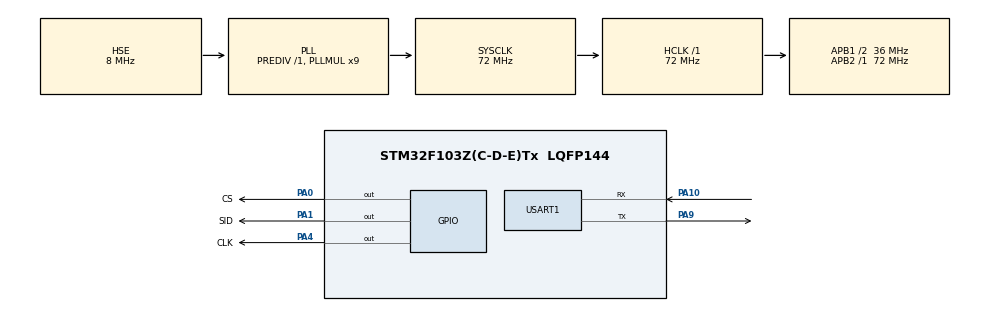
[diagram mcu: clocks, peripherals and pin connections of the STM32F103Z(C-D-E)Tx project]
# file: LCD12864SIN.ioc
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Mcu.Family=STM32F1
Mcu.Name=STM32F103Z(C-D-E)Tx
Mcu.Package=LQFP144
NVIC.PriorityGroup=NVIC_PRIORITYGROUP_4
OSC_IN.Mode=HSE-External-Oscillator
OSC_IN.Signal=RCC_OSC_IN
OSC_OUT.Mode=HSE-External-Oscillator
OSC_OUT.Signal=RCC_OSC_OUT
PA0-WKUP.GPIO_Label=CS
PA0-WKUP.Signal=GPIO_Output
PA1.GPIO_Label=SID
PA1.GPIO_PuPd=GPIO_PULLUP
PA1.Signal=GPIO_Output
PA10.Mode=Asynchronous
PA10.Signal=USART1_RX
PA13.Mode=Serial_Wire
PA13.Signal=SYS_JTMS-SWDIO
PA14.Mode=Serial_Wire
PA14.Signal=SYS_JTCK-SWCLK
PA4.GPIO_Label=CLK
PA4.GPIO_PuPd=GPIO_PULLUP
PA4.Signal=GPIO_Output
PA9.Mode=Asynchronous
PA9.Signal=USART1_TX
PC14-OSC32_IN.Mode=LSE-External-Oscillator
PC14-OSC32_IN.Signal=RCC_OSC32_IN
PC15-OSC32_OUT.Mode=LSE-External-Oscillator
PC15-OSC32_OUT.Signal=RCC_OSC32_OUT
ProjectManager.HeapSize=0x200
ProjectManager.StackSize=0x400
ProjectManager.TargetToolchain=MDK-ARM V5.32
RCC.AHBFreq_Value=72000000
RCC.APB1CLKDivider=RCC_HCLK_DIV2
RCC.APB1Freq_Value=36000000
RCC.APB1TimFreq_Value=72000000
RCC.APB2Freq_Value=72000000
RCC.APB2TimFreq_Value=72000000
RCC.HCLKFreq_Value=72000000
RCC.PLLMUL=RCC_PLL_MUL9
RCC.PLLSourceVirtual=RCC_PLLSOURCE_HSE
RCC.RTCClockSelection=RCC_RTCCLKSOURCE_LSE
RCC.SYSCLKFreq_VALUE=72000000
RCC.SYSCLKSource=RCC_SYSCLKSOURCE_PLLCLK
RCC.USBFreq_Value=72000000
USART1.VirtualMode=VM_ASYNC
VP_RTC_VS_RTC_Activate.Mode=RTC_Enabled
VP_RTC_VS_RTC_Calendar.Mode=RTC_Calendar
board=custom

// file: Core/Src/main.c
/* USER CODE BEGIN Header */
/**
  ******************************************************************************
  * @file           : main.c
  * @brief          : Main program body
  ******************************************************************************
  * @attention
  *
  * Copyright (c) 2023 STMicroelectronics.
  * All rights reserved.
  *
  * This software is licensed under terms that can be found in the LICENSE file
  * in the root directory of this software component.
  * If no LICENSE file comes with this software, it is provided AS-IS.
  *
  ******************************************************************************
  */
/* USER CODE END Header */
#include "main.h"
#include "rtc.h"
#include "usart.h"
#include "gpio.h"

/* USER CODE BEGIN Includes */
#include "lcd.h"
#include "math.h"
#include "string.h"
#include "stdio.h"
/* USER CODE END Includes */

/* USER CODE BEGIN PTD */
//重定向c库函数printf到串口DEBUG_USART，重定向后可使用printf函数
int fputc(int ch, FILE *f)
{
	/* 发送一个字节数据到串口DEBUG_USART */
	HAL_UART_Transmit(&huart1, (uint8_t *)&ch, 1, 1000);

	return (ch);
}
/* USER CODE END PTD */

void SystemClock_Config(void);

/* USER CODE BEGIN 0 */
const unsigned char XYDIAN[1024] __attribute__((section(".progmem_data"))) ={
	0x00,0x00,0x00,0x00,0x00,0x00,0x00,0x00,0x00,0x00,0x00,0x00,0x00,0x00,0x00,0x00,
	0x00,0x00,0x00,0x00,0x00,0x00,0x00,0x00,0x00,0x00,0x00,0x00,0x00,0x00,0x00,0x00,
	0x00,0x00,0x00,0x00,0x00,0x00,0x00,0x00,0x00,0x00,0x00,0x00,0x00,0x00,0x00,0x00,
	0x00,0x00,0x00,0x00,0x00,0x00,0x00,0x00,0x00,0x00,0x00,0x00,0x00,0x00,0x00,0x00,
	0x00,0x00,0x00,0x00,0x00,0x00,0x00,0x00,0x00,0x00,0x00,0x00,0x00,0x00,0x00,0x00,
	0x00,0x00,0x00,0x00,0x00,0x00,0x00,0x00,0x00,0x00,0x00,0x00,0x00,0x00,0x00,0x00,
	0x00,0x00,0x00,0x00,0x00,0x00,0x00,0x00,0x00,0x00,0x00,0x00,0x00,0x00,0x00,0x00,
	0x00,0x00,0x00,0x00,0x00,0x00,0x00,0x00,0x00,0x00,0x00,0x00,0x00,0x00,0x00,0x00,
	0x00,0x00,0x00,0x00,0x00,0x00,0x00,0x00,0x00,0x00,0x00,0x00,0x00,0x00,0x00,0x00,
	0x00,0x00,0x00,0x00,0x00,0x00,0x00,0x00,0x00,0x00,0x00,0x79,0xE0,0x00,0x00,0x00,
	0x00,0x00,0x00,0x00,0x00,0x00,0x00,0x00,0x00,0x00,0x00,0x7F,0xE0,0x00,0x00,0x00,
	0x00,0x00,0x00,0x00,0x00,0x00,0x00,0x00,0x00,0x00,0x00,0x67,0x60,0x00,0x00,0x00,
	0x00,0x00,0x00,0x00,0x00,0x00,0x00,0x00,0x00,0x00,0x00,0x70,0x60,0x00,0x00,0x00,
	0x00,0x00,0x00,0x00,0x00,0x00,0x00,0x00,0x00,0x00,0x00,0x30,0xE0,0x00,0x00,0x00,
	0x00,0x01,0xF7,0xC0,0x00,0x00,0x00,0x00,0x00,0x00,0x00,0x3D,0xC0,0x00,0x00,0x00,
	0x00,0x03,0xFF,0xE0,0x00,0x00,0x00,0x00,0x00,0x00,0x00,0x1F,0x80,0x00,0x00,0x00,
	0x00,0x03,0xBE,0xE0,0x00,0x00,0x00,0x00,0x00,0x00,0x03,0xC6,0x00,0x00,0x00,0x00,
	0x00,0x03,0x08,0x60,0x00,0x00,0x00,0x00,0x00,0x00,0x0F,0xE0,0x00,0x00,0x00,0x00,
	0x00,0x03,0x80,0xE0,0x00,0x00,0x00,0x01,0x83,0x00,0x1F,0x80,0x00,0x00,0x00,0x00,
	0x00,0x03,0x81,0xE0,0x00,0x00,0x00,0x01,0x83,0x00,0x1C,0x60,0x00,0x00,0x00,0x00,
	0x00,0x01,0xC3,0x80,0x00,0x1F,0xFE,0x01,0x87,0xF0,0x18,0xE0,0x00,0x00,0x00,0x00,
	0x00,0x00,0xE7,0x01,0x00,0x1F,0xFE,0x01,0x8F,0xF8,0x18,0x70,0x00,0x00,0x00,0x00,
	0x00,0x00,0xFF,0x0F,0x80,0x0C,0x06,0x01,0xC3,0x18,0x1F,0xFF,0x00,0x00,0x00,0x00,
	0x00,0x00,0x3E,0x1D,0x98,0x0C,0x06,0x07,0xE3,0x1F,0x1F,0xFF,0x00,0x00,0x00,0x00,
	0x00,0x00,0x1C,0x3F,0xFC,0x0C,0x06,0x0F,0x8F,0xFF,0x09,0x3A,0x00,0x00,0x00,0x00,
	0x00,0x00,0x00,0x3F,0xFC,0x0C,0x06,0x0D,0x9F,0xF8,0x03,0xBF,0x80,0x00,0x00,0x00,
	0x00,0x00,0x00,0x7F,0x80,0x0F,0xF6,0x0D,0x83,0x38,0x03,0xBB,0x80,0x00,0x00,0x00,
	0x00,0x00,0x00,0xE1,0x80,0x0F,0xF6,0x01,0x83,0x3C,0x03,0xB9,0xC0,0x00,0x00,0x00,
	0x00,0x00,0x01,0xE1,0xF8,0x0C,0x06,0x01,0x87,0x1E,0x03,0x79,0x80,0x00,0x00,0x00,
	0x00,0x00,0x01,0xDF,0xFC,0x0C,0x06,0x01,0x87,0x0E,0x00,0x70,0x00,0x00,0x00,0x00,
	0x00,0x00,0x00,0x1F,0xF8,0x0C,0x06,0x01,0x8E,0x06,0x00,0x70,0x00,0x00,0x00,0x00,
	0x00,0x00,0x00,0x03,0x80,0x0C,0x06,0x01,0x9C,0x00,0x00,0x00,0x00,0x00,0x00,0x00,
	0x00,0x00,0x00,0x03,0x80,0x0F,0xFE,0x00,0x00,0x00,0x3B,0xC0,0x00,0x00,0x00,0x00,
	0x00,0x00,0x00,0x03,0x80,0x0F,0xFE,0x00,0x00,0x00,0x7F,0xE0,0x00,0x00,0x00,0x00,
	0x00,0x00,0x00,0xFF,0xFE,0x0C,0x00,0x00,0x00,0x00,0x7F,0x60,0x00,0x00,0x00,0x00,
	0x00,0x00,0x00,0xFF,0xFE,0x00,0x00,0x00,0x00,0x00,0x66,0x60,0x00,0x00,0x00,0x00,
	0x00,0x00,0x00,0x00,0x00,0x00,0x00,0x00,0x00,0x00,0x70,0xE0,0x00,0x00,0x00,0x00,
	0x00,0x00,0x00,0x00,0x00,0x00,0x00,0x00,0x00,0x00,0x79,0xE0,0x00,0x00,0x00,0x00,
	0x00,0x00,0x00,0x00,0x00,0x00,0x1F,0x80,0x00,0x00,0x1F,0xC0,0x00,0x00,0x00,0x00,
	0x00,0x00,0x00,0x00,0x00,0x00,0x7F,0xC0,0x00,0x00,0x07,0x80,0x00,0x00,0x00,0x00,
	0x00,0x00,0x00,0x03,0xFC,0x00,0xF9,0xE0,0x00,0x00,0x01,0x83,0x80,0x00,0x00,0x00,
	0x00,0x00,0x00,0x03,0xFF,0x83,0xE0,0xE0,0x00,0x00,0x00,0x03,0xE0,0x00,0x00,0x00,
	0x00,0x00,0x00,0x07,0x9F,0xE7,0x80,0x70,0x00,0x00,0x3C,0x0F,0xE0,0x00,0x00,0x00,
	0x00,0x00,0x00,0x0F,0x03,0xFF,0x00,0x70,0x00,0x00,0x7F,0xBF,0xE0,0x00,0x00,0x00,
	0x00,0x00,0x00,0x0E,0x00,0xFC,0x00,0x70,0x00,0x00,0x73,0xFC,0xE0,0x00,0x00,0x00,
	0x00,0x00,0x00,0x1E,0x00,0x38,0x00,0x70,0x00,0x00,0x7C,0xF9,0xE0,0x00,0x00,0x00,
	0x00,0x00,0x00,0x1C,0x00,0x00,0x00,0xE0,0x00,0x00,0x1F,0x7D,0xC0,0x00,0x00,0x00,
	0x00,0x00,0x00,0x1C,0x00,0x00,0x01,0xE0,0x00,0x00,0x0F,0xDF,0xC0,0x00,0x00,0x00,
	0x00,0x00,0x00,0x1E,0x00,0x00,0x01,0xC0,0x00,0x00,0x07,0xCF,0xE0,0x00,0x00,0x00,
	0x00,0x00,0x00,0x0F,0x00,0x00,0x03,0xC0,0x00,0x00,0x03,0xFB,0xF8,0x00,0x00,0x00,
	0x00,0x00,0x00,0x07,0x80,0x00,0x07,0x80,0x00,0x00,0x01,0xFC,0x7C,0x00,0x00,0x00,
	0x00,0x00,0x00,0x03,0xC0,0x00,0x0F,0x00,0x00,0x00,0x07,0xBF,0x3E,0x00,0x00,0x00,
	0x00,0x00,0x00,0x01,0xF0,0x00,0x1E,0x00,0x00,0x00,0x0F,0xCF,0x0F,0x00,0x00,0x00,
	0x00,0x00,0x00,0x00,0xF8,0x00,0x3C,0x00,0x00,0x00,0x0F,0xF7,0x07,0x80,0x00,0x00,
	0x00,0x00,0x00,0x00,0x7E,0x00,0x38,0x00,0x00,0x00,0x1C,0xFC,0x07,0xC0,0x00,0x00,
	0x00,0x00,0x00,0x00,0x1F,0x80,0x78,0x00,0x00,0x00,0x7C,0x7E,0x01,0xC0,0x00,0x00,
	0x00,0x00,0x00,0x00,0x07,0xC0,0xF0,0x00,0x00,0x00,0x7F,0x9E,0x01,0xC0,0x00,0x00,
	0x00,0x00,0x00,0x00,0x03,0xE1,0xE0,0x00,0x00,0x00,0x7F,0xCE,0x01,0xC0,0x00,0x00,
	0x00,0x00,0x00,0x00,0x00,0xFB,0xC0,0x00,0x00,0x00,0x3B,0xF0,0x01,0xC0,0x00,0x00,
	0x00,0x00,0x00,0x00,0x00,0x7F,0x80,0x00,0x00,0x00,0x18,0xF8,0x03,0xC0,0x00,0x00,
	0x00,0x00,0x00,0x00,0x00,0x3F,0x00,0x00,0x00,0x00,0x0E,0x3C,0x03,0x80,0x00,0x00,
	0x00,0x00,0x00,0x00,0x00,0x1E,0x00,0x00,0x00,0x00,0x03,0x9C,0x07,0x80,0x00,0x00,
	0x00,0x00,0x00,0x00,0x00,0x04,0x00,0x00,0x00,0x00,0x01,0xC0,0x07,0x00,0x00,0x00,
	0x00,0x00,0x00,0x00,0x00,0x00,0x00,0x00,0x00,0x00,0x00,0xE0,0x0F,0x00,0x00,0x00};//图像数据

uint8_t xydraw[1024];

void LCD_sin(int8_t A,double w,double k);
/* USER CODE END 0 */

int main(void)
{

  /* MCU Configuration--------------------------------------------------------*/

  /* Reset of all peripherals, Initializes the Flash interface and the Systick. */
  HAL_Init();

  /* Configure the system clock */
  SystemClock_Config();

  /* USER CODE BEGIN SysInit */
	memset(xydraw,0x00,1024);
	for(uint8_t i = 0;i<16;i++)*(xydraw+31*16+i)=0xff;
  /* USER CODE END SysInit */

  /* Initialize all configured peripherals */
  MX_GPIO_Init();
  MX_RTC_Init();
  MX_USART1_UART_Init();
  /* USER CODE BEGIN 2 */
		LCD_Init();//液晶初始化
		LCD_Drawing(XYDIAN);
		LCD_sin(15,30,0.1);
		LCD_Drawing(xydraw);
  /* USER CODE END 2 */

  /* Infinite loop */
  while (1)
  {

  }
}

void SystemClock_Config(void)
{
  RCC_OscInitTypeDef RCC_OscInitStruct = {0};
  RCC_ClkInitTypeDef RCC_ClkInitStruct = {0};
  RCC_PeriphCLKInitTypeDef PeriphClkInit = {0};

  /** Initializes the RCC Oscillators according to the specified parameters
  * in the RCC_OscInitTypeDef structure.
  */
  RCC_OscInitStruct.OscillatorType = RCC_OSCILLATORTYPE_HSE|RCC_OSCILLATORTYPE_LSE;
  RCC_OscInitStruct.HSEState = RCC_HSE_ON;
  RCC_OscInitStruct.HSEPredivValue = RCC_HSE_PREDIV_DIV1;
  RCC_OscInitStruct.LSEState = RCC_LSE_ON;
  RCC_OscInitStruct.HSIState = RCC_HSI_ON;
  RCC_OscInitStruct.PLL.PLLState = RCC_PLL_ON;
  RCC_OscInitStruct.PLL.PLLSource = RCC_PLLSOURCE_HSE;
  RCC_OscInitStruct.PLL.PLLMUL = RCC_PLL_MUL9;
  if (HAL_RCC_OscConfig(&RCC_OscInitStruct) != HAL_OK)
  {
    Error_Handler();
  }

  /** Initializes the CPU, AHB and APB buses clocks
  */
  RCC_ClkInitStruct.ClockType = RCC_CLOCKTYPE_HCLK|RCC_CLOCKTYPE_SYSCLK
                              |RCC_CLOCKTYPE_PCLK1|RCC_CLOCKTYPE_PCLK2;
  RCC_ClkInitStruct.SYSCLKSource = RCC_SYSCLKSOURCE_PLLCLK;
  RCC_ClkInitStruct.AHBCLKDivider = RCC_SYSCLK_DIV1;
  RCC_ClkInitStruct.APB1CLKDivider = RCC_HCLK_DIV2;
  RCC_ClkInitStruct.APB2CLKDivider = RCC_HCLK_DIV1;

  if (HAL_RCC_ClockConfig(&RCC_ClkInitStruct, FLASH_LATENCY_2) != HAL_OK)
  {
    Error_Handler();
  }
  PeriphClkInit.PeriphClockSelection = RCC_PERIPHCLK_RTC;
  PeriphClkInit.RTCClockSelection = RCC_RTCCLKSOURCE_LSE;
  if (HAL_RCCEx_PeriphCLKConfig(&PeriphClkInit) != HAL_OK)
  {
    Error_Handler();
  }
}

/* USER CODE BEGIN 4 */
void delay_us(uint32_t us)
{
	uint32_t delay = (HAL_RCC_GetHCLKFreq() / 4000000 * us);
  while (delay--)
	{
		;
	}
}
void LCD_sin(int8_t A,double w,double k) //-15<A<15 w是频率(角度) 128
{
	double temp;
	int Int,Float,x__p,y__p=0,bit_F=0;
	const double pi=acos(-1.0);
	w=w*pi/180;
	for(double i=0;i<128;i++){
		temp=A*sin(w*i*k);
		Int=(int)(temp*10)/10;
		Float=(int)(temp*10)%10;
		if(Float>5)x__p=2+2*Int;else x__p=1+2*Int;
		if(bit_F==8)bit_F=0,y__p++;
		*(xydraw+16*31-16*x__p+y__p)=(*(xydraw+16*31+y__p)&(0x80>>bit_F))|*(xydraw+16*31-16*x__p+y__p);
		delay_us(2);
		bit_F++;
	}
	//xydraw[16*16]
}
/* USER CODE END 4 */

void Error_Handler(void)
{
  __disable_irq();
  while (1)
  {
  }
}
